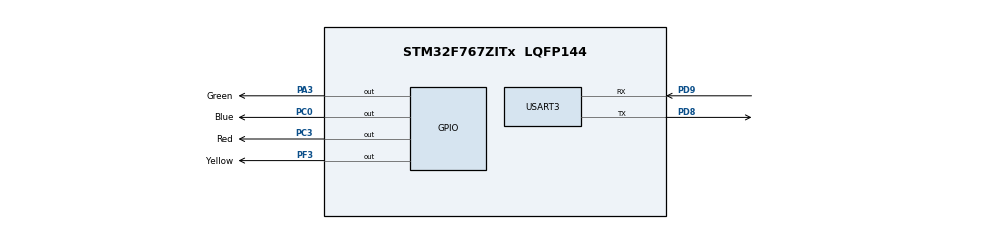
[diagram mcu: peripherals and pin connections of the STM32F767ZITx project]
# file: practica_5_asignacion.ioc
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CORTEX_M7.default_mode_Activation=1
FREERTOS.Tasks01=ToggleRedTask,24,128,StartDefaultTask,Default,NULL,Dynamic,NULL,NULL;ToggleGreenTask,24,128,StartTask02,Default,NULL,Dynamic,NULL,NULL;UARTCommandTask,16,128,StartTask03,Default,NULL,Dynamic,NULL,NULL
FREERTOS.configUSE_NEWLIB_REENTRANT=1
Mcu.Family=STM32F7
Mcu.Name=STM32F767ZITx
Mcu.Package=LQFP144
NVIC.PriorityGroup=NVIC_PRIORITYGROUP_4
NVIC.TIM6_DAC_IRQn=true\:15\:0\:false\:false\:true\:false\:false\:true\:true
NVIC.TimeBase=TIM6_DAC_IRQn
NVIC.TimeBaseIP=TIM6
PA3.GPIO_Label=Green
PA3.Signal=GPIO_Output
PC0.GPIO_Label=Blue
PC0.Signal=GPIO_Output
PC3.GPIO_Label=Red
PC3.Signal=GPIO_Output
PD8.Mode=Asynchronous
PD8.Signal=USART3_TX
PD9.Mode=Asynchronous
PD9.Signal=USART3_RX
PF3.GPIO_Label=Yellow
PF3.Signal=GPIO_Output
ProjectManager.HeapSize=0x200
ProjectManager.StackSize=0x400
ProjectManager.TargetToolchain=STM32CubeIDE
RCC.HSE_VALUE=25000000
RCC.HSI_VALUE=16000000
RCC.LSE_VALUE=32768
RCC.USBFreq_Value=96000000
RCC.VCOOutputFreq_Value=192000000
USART3.VirtualMode-Asynchronous=VM_ASYNC
VP_FREERTOS_VS_CMSIS_V2.Mode=CMSIS_V2
VP_SYS_VS_tim6.Mode=TIM6
board=custom

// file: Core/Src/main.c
/* USER CODE BEGIN Header */
/**
  ******************************************************************************
  * @file           : main.c
  * @brief          : Main program body
  ******************************************************************************
  * @attention
  *
  * Copyright (c) 2025 STMicroelectronics.
  * All rights reserved.
  *
  * This software is licensed under terms that can be found in the LICENSE file
  * in the root directory of this software component.
  * If no LICENSE file comes with this software, it is provided AS-IS.
  *
  ******************************************************************************
  */
/* USER CODE END Header */
#include "main.h"
#include "cmsis_os.h"
#include "usart.h"
#include "gpio.h"

void SystemClock_Config(void);
static void MPU_Config(void);
void MX_FREERTOS_Init(void);

int main(void)
{

  /* MPU Configuration--------------------------------------------------------*/
  MPU_Config();

  /* MCU Configuration--------------------------------------------------------*/

  /* Reset of all peripherals, Initializes the Flash interface and the Systick. */
  HAL_Init();

  /* Configure the system clock */
  SystemClock_Config();

  /* Initialize all configured peripherals */
  MX_GPIO_Init();
  MX_USART3_UART_Init();

  /* Init scheduler */
  osKernelInitialize();

  /* Call init function for freertos objects (in cmsis_os2.c) */
  MX_FREERTOS_Init();

  /* Start scheduler */
  osKernelStart();

  /* We should never get here as control is now taken by the scheduler */

  /* Infinite loop */
  while (1)
  {

  }
}

void SystemClock_Config(void)
{
  RCC_OscInitTypeDef RCC_OscInitStruct = {0};
  RCC_ClkInitTypeDef RCC_ClkInitStruct = {0};

  /** Configure the main internal regulator output voltage
  */
  __HAL_RCC_PWR_CLK_ENABLE();
  __HAL_PWR_VOLTAGESCALING_CONFIG(PWR_REGULATOR_VOLTAGE_SCALE3);

  /** Initializes the RCC Oscillators according to the specified parameters
  * in the RCC_OscInitTypeDef structure.
  */
  RCC_OscInitStruct.OscillatorType = RCC_OSCILLATORTYPE_HSI;
  RCC_OscInitStruct.HSIState = RCC_HSI_ON;
  RCC_OscInitStruct.HSICalibrationValue = RCC_HSICALIBRATION_DEFAULT;
  RCC_OscInitStruct.PLL.PLLState = RCC_PLL_NONE;
  if (HAL_RCC_OscConfig(&RCC_OscInitStruct) != HAL_OK)
  {
    Error_Handler();
  }

  /** Initializes the CPU, AHB and APB buses clocks
  */
  RCC_ClkInitStruct.ClockType = RCC_CLOCKTYPE_HCLK|RCC_CLOCKTYPE_SYSCLK
                              |RCC_CLOCKTYPE_PCLK1|RCC_CLOCKTYPE_PCLK2;
  RCC_ClkInitStruct.SYSCLKSource = RCC_SYSCLKSOURCE_HSI;
  RCC_ClkInitStruct.AHBCLKDivider = RCC_SYSCLK_DIV1;
  RCC_ClkInitStruct.APB1CLKDivider = RCC_HCLK_DIV1;
  RCC_ClkInitStruct.APB2CLKDivider = RCC_HCLK_DIV1;

  if (HAL_RCC_ClockConfig(&RCC_ClkInitStruct, FLASH_LATENCY_0) != HAL_OK)
  {
    Error_Handler();
  }
}

 /* MPU Configuration */

void MPU_Config(void)
{
  MPU_Region_InitTypeDef MPU_InitStruct = {0};

  /* Disables the MPU */
  HAL_MPU_Disable();

  /** Initializes and configures the Region and the memory to be protected
  */
  MPU_InitStruct.Enable = MPU_REGION_ENABLE;
  MPU_InitStruct.Number = MPU_REGION_NUMBER0;
  MPU_InitStruct.BaseAddress = 0x0;
  MPU_InitStruct.Size = MPU_REGION_SIZE_4GB;
  MPU_InitStruct.SubRegionDisable = 0x87;
  MPU_InitStruct.TypeExtField = MPU_TEX_LEVEL0;
  MPU_InitStruct.AccessPermission = MPU_REGION_NO_ACCESS;
  MPU_InitStruct.DisableExec = MPU_INSTRUCTION_ACCESS_DISABLE;
  MPU_InitStruct.IsShareable = MPU_ACCESS_SHAREABLE;
  MPU_InitStruct.IsCacheable = MPU_ACCESS_NOT_CACHEABLE;
  MPU_InitStruct.IsBufferable = MPU_ACCESS_NOT_BUFFERABLE;

  HAL_MPU_ConfigRegion(&MPU_InitStruct);
  /* Enables the MPU */
  HAL_MPU_Enable(MPU_PRIVILEGED_DEFAULT);

}

void HAL_TIM_PeriodElapsedCallback(TIM_HandleTypeDef *htim)
{
  if (htim->Instance == TIM6)
  {
    HAL_IncTick();
  }
}

void Error_Handler(void)
{
  __disable_irq();
  while (1)
  {
  }
}

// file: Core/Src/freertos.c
/* USER CODE BEGIN Header */

/**

  ******************************************************************************

  * File Name          : freertos.c

  * Description        : Code for freertos applications

  ******************************************************************************

  * @attention

  *

  * Copyright (c) 2025 STMicroelectronics.

  * All rights reserved.

  *

  * This software is licensed under terms that can be found in the LICENSE file

  * in the root directory of this software component.

  * If no LICENSE file comes with this software, it is provided AS-IS.

  *

  ******************************************************************************

  */

/* USER CODE END Header */

#include "FreeRTOS.h"

#include "task.h"

#include "main.h"

#include "cmsis_os.h"

/* USER CODE BEGIN Includes */

#include "usart.h"

#include "gpio.h"

/* USER CODE END Includes */

/* Definitions for UARTCommandTask */

osThreadId_t UARTCommandTaskHandle;

const osThreadAttr_t UARTCommandTask_attributes = {

  .name = "UARTCommandTask",

  .stack_size = 128 * 4,

  .priority = (osPriority_t) osPriorityBelowNormal,

};

/* Definitions for ToggleRedTask */

osThreadId_t ToggleRedTaskHandle;

const osThreadAttr_t ToggleRedTask_attributes = {

  .name = "ToggleRedTask",

  .stack_size = 128 * 4,

  .priority = (osPriority_t) osPriorityNormal,

};

/* Definitions for ToggleGreenTask */

osThreadId_t ToggleGreenTaskHandle;

const osThreadAttr_t ToggleGreenTask_attributes = {

  .name = "ToggleGreenTask",

  .stack_size = 128 * 4,

  .priority = (osPriority_t) osPriorityNormal,

};

/* USER CODE BEGIN FunctionPrototypes */

void ToggleGreenTask(void *argument);

void ToggleRedTask(void *argument);

void UARTCommandTask(void *argument);

/* USER CODE END FunctionPrototypes */

void StartTask03(void *argument);

void StartDefaultTask(void *argument);

void StartTask02(void *argument);

void MX_FREERTOS_Init(void); /* (MISRA C 2004 rule 8.1) */

void MX_FREERTOS_Init(void) {

  /* Create the thread(s) */

  /* creation of UARTCommandTask */

  UARTCommandTaskHandle = osThreadNew(StartTask03, NULL, &UARTCommandTask_attributes);

  /* creation of ToggleRedTask */

  ToggleRedTaskHandle = osThreadNew(StartDefaultTask, NULL, &ToggleRedTask_attributes);

  /* creation of ToggleGreenTask */

  ToggleGreenTaskHandle = osThreadNew(StartTask02, NULL, &ToggleGreenTask_attributes);

  /* USER CODE BEGIN RTOS_THREADS */

  osThreadNew(ToggleGreenTask, NULL, &ToggleGreenTask_attributes);

  osThreadNew(ToggleRedTask, NULL, &ToggleRedTask_attributes);

  osThreadNew(UARTCommandTask, NULL, &UARTCommandTask_attributes);

  /* USER CODE END RTOS_THREADS */

}

void StartTask03(void *argument)

{

  for(;;)
  {
    osDelay(1);
  }

}

void StartDefaultTask(void *argument)

{

  for(;;)
  {
    osDelay(1);
  }

}

void StartTask02(void *argument)

{

  for(;;)
  {
    osDelay(1);
  }

}

/* USER CODE BEGIN Application */

extern UART_HandleTypeDef huart3;  // Usando USART3

void ToggleGreenTask(void *argument) {

  for (;;) {

    // Azul ON (PC0)

    HAL_GPIO_WritePin(GPIOC, GPIO_PIN_0, GPIO_PIN_SET);

    // Parpadea verde (PA3) 20Hz durante 4 segundos (160 toggles * 25ms)

    for (int i = 0; i < 160; ++i) {

      HAL_GPIO_TogglePin(GPIOA, GPIO_PIN_3);

      osDelay(25);

    }

    // Verde OFF

    HAL_GPIO_WritePin(GPIOA, GPIO_PIN_3, GPIO_PIN_RESET);

    // Azul OFF

    HAL_GPIO_WritePin(GPIOC, GPIO_PIN_0, GPIO_PIN_RESET);

    // Esperar 2 segundos para completar ciclo de 6s

    osDelay(2000);

  }

}

void ToggleRedTask(void *argument) {

  for (;;) {

    // Amarillo ON (PF3)

    HAL_GPIO_WritePin(GPIOF, GPIO_PIN_3, GPIO_PIN_SET);

    // Parpadea rojo (PC3) 20Hz durante 2 segundos (80 toggles * 25ms)

    for (int i = 0; i < 80; ++i) {

      HAL_GPIO_TogglePin(GPIOC, GPIO_PIN_3);

      osDelay(25);

    }

    // Rojo OFF

    HAL_GPIO_WritePin(GPIOC, GPIO_PIN_3, GPIO_PIN_RESET);

    // Amarillo OFF

    HAL_GPIO_WritePin(GPIOF, GPIO_PIN_3, GPIO_PIN_RESET);

    // Esperar 0 segundos extra ya que el parpadeo dura 2s, y la tarea es periódica a 2s

    osDelay(4000);

  }

}

void UARTCommandTask(void *argument) {

  char rxChar;

  char buffer[32];

  uint8_t idx = 0;

  for (;;) {

    HAL_UART_Receive(&huart3, (uint8_t*)&rxChar, 1, HAL_MAX_DELAY);

    if (rxChar == '\n') {

      buffer[idx] = '\0';

      idx = 0;

      if (strcmp(buffer, "GREEN ON") == 0)

        HAL_GPIO_WritePin(GPIOA, GPIO_PIN_3, GPIO_PIN_SET);

      else if (strcmp(buffer, "GREEN OFF") == 0)

        HAL_GPIO_WritePin(GPIOA, GPIO_PIN_3, GPIO_PIN_RESET);

      else if (strcmp(buffer, "BLUE ON") == 0)

        HAL_GPIO_WritePin(GPIOC, GPIO_PIN_0, GPIO_PIN_SET);

      else if (strcmp(buffer, "BLUE OFF") == 0)

        HAL_GPIO_WritePin(GPIOC, GPIO_PIN_0, GPIO_PIN_RESET);

      else if (strcmp(buffer, "RED ON") == 0)

        HAL_GPIO_WritePin(GPIOC, GPIO_PIN_3, GPIO_PIN_SET);

      else if (strcmp(buffer, "RED OFF") == 0)

        HAL_GPIO_WritePin(GPIOC, GPIO_PIN_3, GPIO_PIN_RESET);

      else if (strcmp(buffer, "YELLOW ON") == 0)

        HAL_GPIO_WritePin(GPIOF, GPIO_PIN_3, GPIO_PIN_SET);

      else if (strcmp(buffer, "YELLOW OFF") == 0)

        HAL_GPIO_WritePin(GPIOF, GPIO_PIN_3, GPIO_PIN_RESET);

    } else {

      if (idx < sizeof(buffer) - 1)

        buffer[idx++] = rxChar;

    }

  }

}

/* USER CODE END Application */
